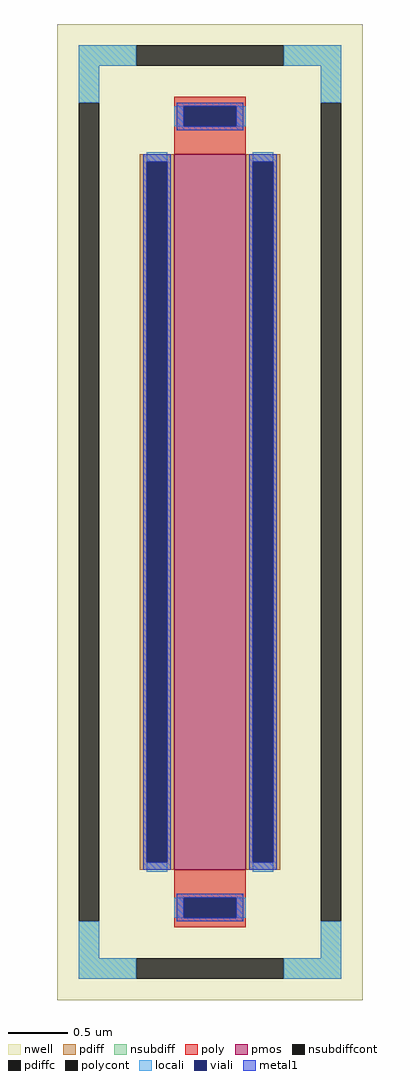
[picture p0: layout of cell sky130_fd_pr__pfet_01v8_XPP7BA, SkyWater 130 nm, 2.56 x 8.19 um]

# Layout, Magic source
magic
tech sky130A
magscale 1 2
<< nwell >>
rect -256 -819 256 819
<< pmos >>
rect -60 -600 60 600
<< pdiff >>
rect -118 588 -60 600
rect -118 -588 -106 588
rect -72 -588 -60 588
rect -118 -600 -60 -588
rect 60 588 118 600
rect 60 -588 72 588
rect 106 -588 118 588
rect 60 -600 118 -588
<< pdiffc >>
rect -106 -588 -72 588
rect 72 -588 106 588
<< nsubdiff >>
rect -220 749 -124 783
rect 124 749 220 783
rect -220 687 -186 749
rect 186 687 220 749
rect -220 -749 -186 -687
rect 186 -749 220 -687
rect -220 -783 -124 -749
rect 124 -783 220 -749
<< nsubdiffcont >>
rect -124 749 124 783
rect -220 -687 -186 687
rect 186 -687 220 687
rect -124 -783 124 -749
<< poly >>
rect -60 681 60 697
rect -60 647 -44 681
rect 44 647 60 681
rect -60 600 60 647
rect -60 -647 60 -600
rect -60 -681 -44 -647
rect 44 -681 60 -647
rect -60 -697 60 -681
<< polycont >>
rect -44 647 44 681
rect -44 -681 44 -647
<< locali >>
rect -220 749 -124 783
rect 124 749 220 783
rect -220 687 -186 749
rect 186 687 220 749
rect -60 647 -44 681
rect 44 647 60 681
rect -106 588 -72 604
rect -106 -604 -72 -588
rect 72 588 106 604
rect 72 -604 106 -588
rect -60 -681 -44 -647
rect 44 -681 60 -647
rect -220 -749 -186 -687
rect 186 -749 220 -687
rect -220 -783 -124 -749
rect 124 -783 220 -749
<< viali >>
rect -44 647 44 681
rect -106 -588 -72 588
rect 72 -588 106 588
rect -44 -681 44 -647
<< metal1 >>
rect -56 681 56 687
rect -56 647 -44 681
rect 44 647 56 681
rect -56 641 56 647
rect -112 588 -66 600
rect -112 -588 -106 588
rect -72 -588 -66 588
rect -112 -600 -66 -588
rect 66 588 112 600
rect 66 -588 72 588
rect 106 -588 112 588
rect 66 -600 112 -588
rect -56 -647 56 -641
rect -56 -681 -44 -647
rect 44 -681 56 -647
rect -56 -687 56 -681
<< properties >>
string FIXED_BBOX -203 -766 203 766
string gencell sky130_fd_pr__pfet_01v8
string library sky130
string parameters w 6.0 l 0.6 m 1 nf 1 diffcov 100 polycov 100 guard 1 glc 1 grc 1 gtc 1 gbc 1 tbcov 100 rlcov 100 topc 1 botc 1 poverlap 0 doverlap 1 lmin 0.15 wmin 0.42 compatible {sky130_fd_pr__pfet_01v8  sky130_fd_pr__pfet_01v8_lvt sky130_fd_pr__pfet_01v8_hvt  sky130_fd_pr__pfet_g5v0d10v5} full_metal 1 viasrc 100 viadrn 100 viagate 100 viagb 0 viagr 0 viagl 0 viagt 0
<< end >>
